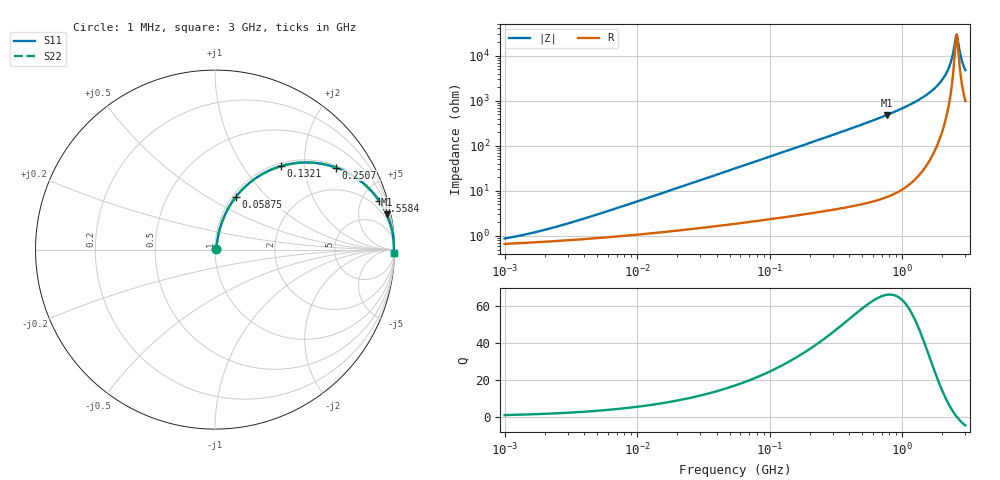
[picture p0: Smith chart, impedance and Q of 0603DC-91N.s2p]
# MHz  S  MA  R  50
!Freq  MagS11  AngS11  MagS21  AngS21  MagS12  AngS12  MagS22  AngS22
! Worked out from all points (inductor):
!   801 points, 1 MHz to 3 GHz, reference 50 ohm
!   read as one part in series: L = 91 nH near 4.624 MHz
!   highest Q = 66 at 769.1 MHz (marker M1), where L = 99.9 nH
!   self-resonance near 2.556 GHz
!   S11 on the Smith chart (normalised r, x): 1 MHz: 1.01, +0.01; 58.75 MHz: 1.04, +0.67; 132.1 MHz: 1.05, +1.52; 250.7 MHz: 1.07, +2.89; 558.4 MHz: 1.11, +6.70; 3 GHz: 20, -93
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1  0.008719 40.3  0.9934 -0.3  0.9934 -0.3  0.008719 40.3
1.822989  0.01264 54.4  0.9927 -0.6  0.9927 -0.6  0.01264 54.4
3.823119  0.02323 67.7  0.9914 -1.2  0.9914 -1.2  0.02323 67.7
14.47069  0.08233 77.2  0.985 -4.7  0.985 -4.7  0.08233 77.2
54.77226  0.2945 69.5  0.9384 -17.1  0.9384 -17.1  0.2945 69.5
58.74697  0.3137 68.5  0.9319 -18.3  0.9319 -18.3  0.3137 68.5
132.1429  0.5942 51.6  0.7839 -36.4  0.7839 -36.4  0.5942 51.6
209.4008  0.7598 39.0  0.6302 -49.4  0.6302 -49.4  0.7598 39.0
250.7343  0.8137 34.2  0.562 -54.4  0.562 -54.4  0.8137 34.2
558.3748  0.954 16.5  0.2847 -72.5  0.2847 -72.5  0.954 16.5
769.1493  0.9763 11.7  0.2022 -77.5  0.2022 -77.5  0.9763 11.7
792.5923  0.9778 11.3  0.1953 -77.9  0.1953 -77.9  0.9778 11.3
1333.714  0.9935 5.5  0.09534 -83.3  0.09534 -83.3  0.9935 5.5
1855.641  0.9967 2.6  0.04523 -84.6  0.04523 -84.6  0.9967 2.6
2071.593  0.997 1.7  0.02984 -83.5  0.02984 -83.5  0.997 1.7
2244.273  0.9971 1.1  0.01893 -80.5  0.01893 -80.5  0.9971 1.1
2359.433  0.997 0.7  0.01228 -75.3  0.01228 -75.3  0.997 0.7
2505.452  0.9968 0.2  0.004985 -49.3  0.004985 -49.3  0.9968 0.2
2556.106  0.9967 0.1  0.003508 -18.0  0.003508 -18.0  0.9967 0.1
2634.014  0.9965 -0.2  0.004584 40.2  0.004584 40.2  0.9965 -0.2
2825.159  0.996 -0.7  0.01303 71.8  0.01303 71.8  0.996 -0.7
3000  0.9955 -1.2  0.02102 76.9  0.02102 76.9  0.9955 -1.2
